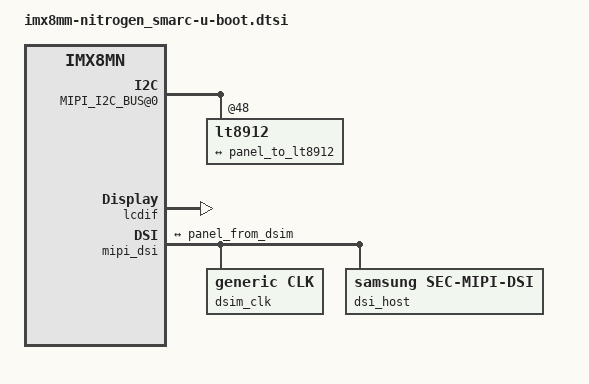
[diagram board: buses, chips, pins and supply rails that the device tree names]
// SPDX-License-Identifier: GPL-2.0+
/*
 * Copyright 2023 Boundary Devices
 */
#ifdef IMX8MN
#include "imx8mn-u-boot.dtsi"
#else
#include "imx8mm-u-boot.dtsi"
#endif

/ {
	wdt-reboot {
		compatible = "wdt-reboot";
		wdt = <&wdog1>;
		u-boot,dm-spl;
	};
};

&{/soc@0} {
	u-boot,dm-pre-reloc;
	u-boot,dm-spl;
};

&aips1 {
	u-boot,dm-spl;
	u-boot,dm-pre-reloc;
};

&aips2 {
	u-boot,dm-spl;
};

&aips3 {
	u-boot,dm-spl;
};

&clk {
	u-boot,dm-spl;
	u-boot,dm-pre-reloc;
	/delete-property/ assigned-clocks;
	/delete-property/ assigned-clock-parents;
	/delete-property/ assigned-clock-rates;
};

&gpio1 {
	u-boot,dm-spl;
};

&gpio2 {
	u-boot,dm-spl;
};

&gpio3 {
	u-boot,dm-spl;
};

&gpio4 {
	u-boot,dm-spl;
};

&gpio5 {
	u-boot,dm-spl;
};

&i2c1 {
	u-boot,dm-spl;
};

&iomuxc {
	u-boot,dm-spl;
};

#ifndef SKIP_MIPI_PANELS
&lcdif {
	display = <&fb_mipi>;
	status = "okay";
};

#ifndef SKIP_LONTIUM_DAUGHTER_BOARDS
&mipi_ref2(lt8912, 2) {
	port@0 {
		lt8912_2_from_panel: endpoint {
			remote-endpoint = <&panel_to_lt8912_2>;
		};
	};
};
#endif

&mipi_dsi {
	fb_mipi: panel@0 {
		bits-per-pixel = <24>;
		bus-width = <24>;
		clocks = <&dsim_clk 0>,
				<&clk IMX8MMN(CLK_LCDIF_PIXEL)>;

		mipi_to_lvds: mipi-to-lvds {
			interrupts-gpios = GP_MIPI_IRQ(GPIO_ACTIVE_HIGH);
		};

		port@1 {
			panel_from_dsim: endpoint {
				remote-endpoint = <&dsim_to_panel>;
			};
		};

#ifndef SKIP_LONTIUM_DAUGHTER_BOARDS
		port@2 {
			panel_to_lt8912: endpoint {
				remote-endpoint = <&lt8912_from_panel>;
			};
		};

		port@3 {
			panel_to_lt8912_2: endpoint {
				remote-endpoint = <&lt8912_2_from_panel>;
			};
		};
#endif
	};

	dsim_clk: dsim-clk {
		#clock-cells = <1>;
		#size-cells = <0>;
		compatible = "generic,clk";
		clocks = <&clk IMX8MMN(CLK_DSI_PHY_REF)>;
		clock-names = "parent";
		clock-output-names = "dsim-clk";
		status = "okay";
	};

	dsi_host: dsi-host {
		compatible = "samsung,sec-mipi-dsi";
		clocks = <&dsim_clk 0>,
			 <&clk IMX8MMN(CLK_DSI_CORE)>,
			 <&clk IMX8MMN(CLK_DSI_PHY_REF)>,
			 <&clk IMX8MMN(CLK_LCDIF_PIXEL)>;
		clock-names = "dsim-clk", "cfg", "pll-ref", "pixel_clock";
		status = "okay";
	};

	port@1 {
		dsim_to_panel: endpoint {
			remote-endpoint = <&panel_from_dsim>;
		};
	};
};

#ifndef SKIP_LONTIUM_DAUGHTER_BOARDS
&mipi_ref(pca9546) {
	MIPI_I2C_BUS@0 {
		lt8912@48 {
			port@0 {
				lt8912_from_panel: endpoint {
					remote-endpoint = <&panel_to_lt8912>;
				};
			};
		};
	};
};
#endif
#endif

&osc_24m {
	u-boot,dm-spl;
	u-boot,dm-pre-reloc;
};

&pinctrl_i2c1 {
	u-boot,dm-spl;
};

&pinctrl_uart2 {
	u-boot,dm-spl;
};

&pinctrl_usbotg1 {
	u-boot,dm-spl;
};

&pinctrl_usbotg2 {
	u-boot,dm-spl;
};

&pinctrl_usdhc1 {
	u-boot,dm-spl;
};

&pinctrl_usdhc1_100mhz {
	u-boot,dm-spl;
};

&pinctrl_usdhc1_200mhz {
	u-boot,dm-spl;
};

&pinctrl_usdhc2 {
	u-boot,dm-spl;
};

&pinctrl_usdhc2_state_100mhz {
	u-boot,dm-spl;
};

&pinctrl_usdhc2_state_200mhz {
	u-boot,dm-spl;
};

&pinctrl_usdhc3 {
	u-boot,dm-spl;
};

&reg_vref_1v8 {
	u-boot,dm-spl;
};

&reg_vref_3v3 {
	u-boot,dm-spl;
};

&uart1 { /* BT */
	status = "disabled";
};

&uart2 {
	u-boot,dm-spl;
};

&uart3 { /* J15 */
	status = "disabled";
};

&uart4 {
	status = "disabled";
};

&usbmisc1 {
	u-boot,dm-spl;
};

#ifdef IMX8MM
&usbmisc2 {
	u-boot,dm-spl;
};
#endif

&usbotg1 {
	u-boot,dm-spl;
};

#ifdef IMX8MM
&usbotg2 {
	u-boot,dm-spl;
};
#endif

&usbphynop1 {
	u-boot,dm-spl;
};

#ifdef IMX8MM
&usbphynop2 {
	u-boot,dm-spl;
};
#endif

&usdhc1 {
	cap-mmc-highspeed;
	mmc-ddr-1_8v;
	mmc-hs200-1_8v;
	reset-gpios = GP_EMMC_RESET;
	u-boot,dm-spl;
};

&usdhc2 {
	cap-sd-highspeed;
	sd-uhs-ddr50;
	sd-uhs-sdr104;
	sd-uhs-sdr12;
	sd-uhs-sdr25;
	u-boot,dm-spl;
};

&usdhc3 {
	status = "disabled";
};

&wdog1 {
	u-boot,dm-spl;
};
